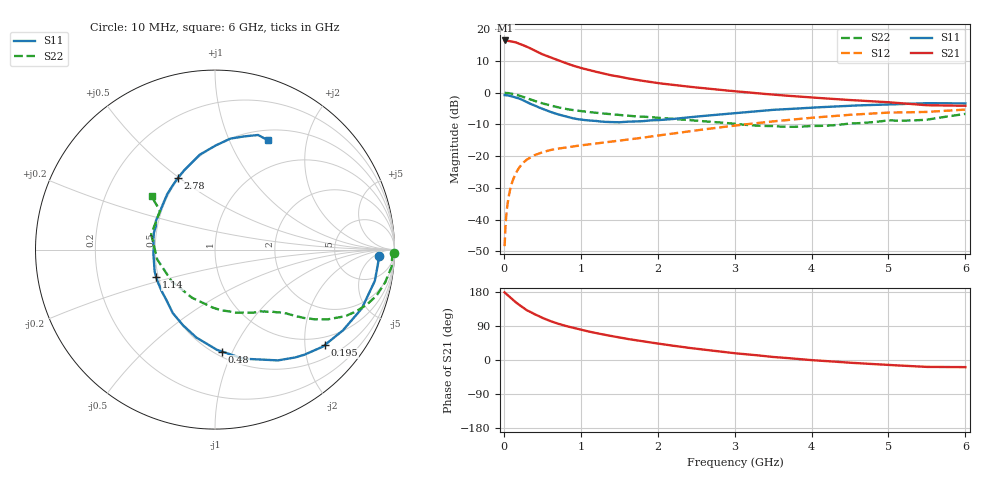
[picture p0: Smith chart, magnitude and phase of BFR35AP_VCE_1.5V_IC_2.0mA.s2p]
! Infineon Technologies  Discrete & RF Semiconductors
! BFR35AP
! VCE =  1.5 V,  IC =  2.0 mA
! Common Emitter S-Parameters:  Nov 2015
# GHz  S  MA  R  50
!  f  S11  S21  S12  S22
! GHz  MAG  ANG  MAG  ANG  MAG  ANG  MAG  ANG
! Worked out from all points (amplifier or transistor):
!   210 points, 10 MHz to 6 GHz, reference 50 ohm
!   highest |S21| = 16.5 dB at 20 MHz (marker M1)
!   |S21| within 3 dB of that: start of sweep to 388.2 MHz
!   unconditionally stable (mu >= 1): 1.123 GHz to end of sweep
!   at 185 MHz: K = 0.22, MSG = 19.9 dB, |S12| = -24.2 dB
!   at 1.52 GHz: K = 1.16, MAG = 7.6 dB, |S12| = -15.1 dB
!   at 6 GHz: K = 1.04, MAG = -0.6 dB, |S12| = -5.3 dB
!   S11 on the Smith chart (normalised r, x): 10 MHz: 19, -8; 195 MHz: 0.79, -2.45; 480 MHz: 0.54, -0.91; 1.14 GHz: 0.49, -0.17; 2.78 GHz: 0.49, +0.50; 6 GHz: 0.62, +1.40
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0.01  0.9152 -2.3  6.543 178.5  0.0038 86.9  0.9968 -1.0
0.02  0.9125 -4.4  6.65 176.3  0.0073 87.7  0.9883 -2.2
0.04  0.9077 -8.9  6.603 172.8  0.0146 83.5  0.9879 -4.5
0.065  0.8962 -14.3  6.521 168.5  0.0236 80.0  0.9808 -7.1
0.15  0.8425 -32.4  6.253 153.0  0.0519 70.9  0.9354 -16.0
0.195  0.8106 -41.0  5.939 146.3  0.0646 66.6  0.9021 -19.6
0.24  0.7684 -49.7  5.656 139.6  0.0757 62.2  0.8657 -22.9
0.3  0.7099 -60.4  5.303 131.2  0.0882 57.7  0.8162 -27.0
0.4  0.6278 -75.5  4.638 120.8  0.1034 51.4  0.7393 -31.7
0.48  0.5697 -86.0  4.144 113.3  0.1125 48.1  0.6903 -34.2
0.6  0.5011 -101.9  3.629 103.1  0.1241 44.2  0.63 -37.3
0.7  0.4577 -112.9  3.264 96.1  0.1306 42.5  0.5886 -39.2
0.8  0.425 -123.6  2.935 90.1  0.1364 41.1  0.5551 -40.7
1.02  0.3736 -144.2  2.42 79.0  0.1485 40.1  0.5088 -43.6
1.14  0.3615 -155.0  2.222 73.6  0.1549 40.0  0.4898 -45.5
1.6  0.3482 170.3  1.689 55.8  0.181 41.5  0.4347 -52.5
2.02  0.37 147.3  1.408 43.0  0.2121 42.0  0.401 -61.0
2.78  0.4499 117.3  1.116 23.1  0.2805 39.8  0.3414 -83.3
3.1  0.4852 108.4  1.027 16.1  0.3125 37.3  0.3143 -96.3
4.1  0.5883 88.0  0.823 -1.6  0.4103 26.5  0.2989 -149.4
5.1  0.6567 74.3  0.691 -14.1  0.4866 12.5  0.3631 162.2
6  0.6768 64.2  0.621 -18.8  0.5407 2.2  0.4623 139.9
